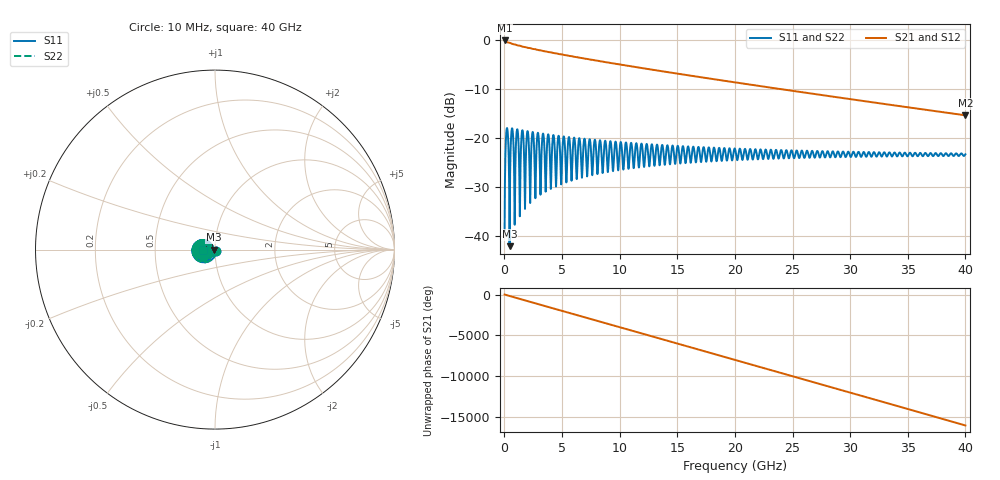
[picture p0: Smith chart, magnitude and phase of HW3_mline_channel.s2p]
! Created Mon Mar  4 15:52:04 2024
# hz S ma R 50
! 2 Port Network Data from SP1.SP block
! freq  magS11  angS11  magS21  angS21  magS12  angS12  magS22  angS22
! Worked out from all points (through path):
!   4000 points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, 10 MHz to 40 GHz, reference 50 ohm
!   highest |S21| = -0.07 dB at 10 MHz (marker M1); lowest = -15.4 dB at 40 GHz (marker M2)
!   group delay of S21, straight-line fit = 1.12 ns
!   lowest |S11| = -42.1 dB at 440 MHz (marker M3), VSWR 1.02, Z = 49.2 - j0.0676 ohm
!   |S11| at or under -10 dB: start of sweep to end of sweep
!   |S22| runs from -42.1 to -18.0 dB; largest |S21 - S12| = 0
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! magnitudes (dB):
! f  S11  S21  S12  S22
! 10 MHz  -38.8  -0.1  -0.1  -38.8
! 210 MHz  -18.0  -0.4  -0.4  -18.0
! 440 MHz  -42.1  -0.5  -0.5  -42.1
! 660 MHz  -18.0  -0.8  -0.8  -18.0
! 890 MHz  -37.7  -0.9  -0.9  -37.7
! 1.11 GHz  -18.2  -1.1  -1.1  -18.2
! 1.34 GHz  -35.2  -1.1  -1.1  -35.2
! 1.56 GHz  -18.4  -1.3  -1.3  -18.4
! 1.78 GHz  -34.5  -1.4  -1.4  -34.5
! 2 GHz  -18.6  -1.6  -1.6  -18.6
! 2.23 GHz  -33.3  -1.6  -1.6  -33.3
! 2.45 GHz  -18.8  -1.8  -1.8  -18.8
! 2.68 GHz  -32.3  -1.9  -1.9  -32.3
! 2.9 GHz  -18.9  -2.0  -2.0  -18.9
! 3.13 GHz  -31.5  -2.1  -2.1  -31.5
! 3.35 GHz  -19.1  -2.2  -2.2  -19.1
! 6.68 GHz  -26.7  -3.6  -3.6  -26.7
! 13.34 GHz  -22.7  -6.2  -6.2  -22.7
! 20.01 GHz  -22.2  -8.6  -8.6  -22.2
! 26.67 GHz  -22.7  -10.9  -10.9  -22.7
! 33.34 GHz  -23.1  -13.2  -13.2  -23.1
! 40 GHz  -23.3  -15.4  -15.4  -23.3
